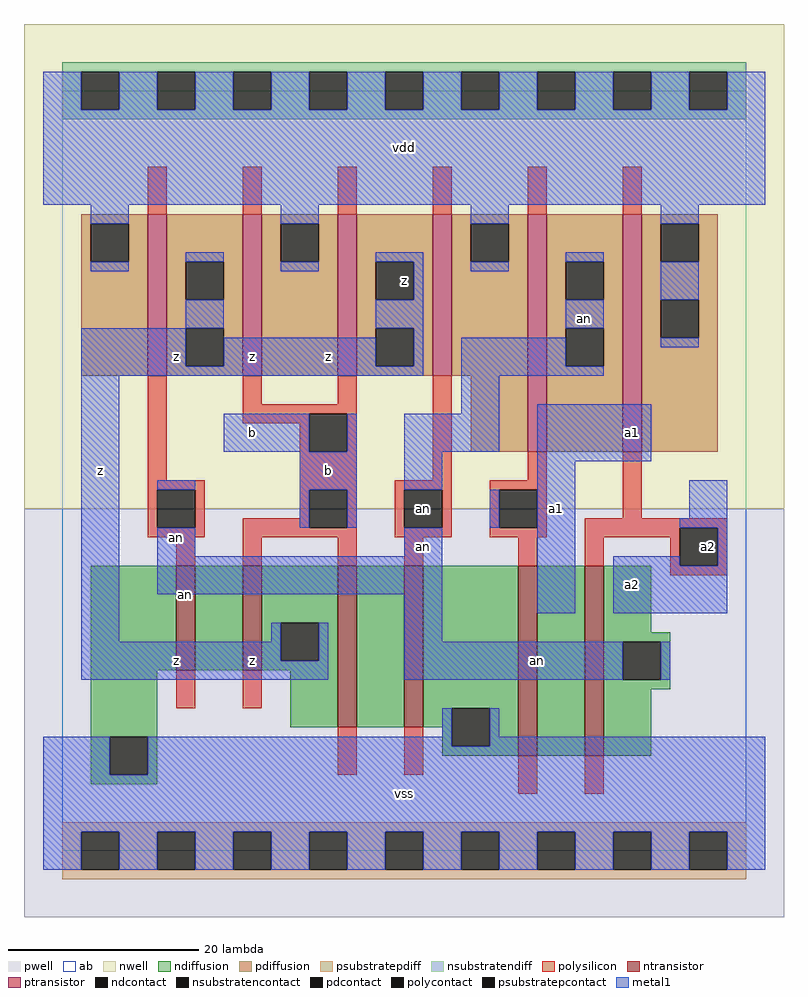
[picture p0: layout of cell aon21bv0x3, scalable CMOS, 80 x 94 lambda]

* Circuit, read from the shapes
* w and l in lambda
.subckt aon21bv0x3 a1 a2 an b vdd vss z
M1 n1 an vss vss nfet w=11 l=2
M2 z b n1 vss nfet w=11 l=2
M3 n2 b z vss nfet w=17 l=2
M4 vss an n2 vss nfet w=17 l=2
M5 n3 a1 vss vss nfet w=20 l=2
M6 an a2 n3 vss nfet w=20 l=2
M7 z an vdd vdd pfet w=17 l=2 m=2
M8 vdd b z vdd pfet w=17 l=2 m=2
M9 an a1 vdd vdd pfet w=25 l=2
M10 vdd a2 an vdd pfet w=25 l=2
.ends

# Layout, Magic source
magic
tech scmos
<< ab >>
rect 0 0 72 80
<< pwell >>
rect -4 -7 76 36
<< nwell >>
rect -4 36 76 87
<< polysilicon >>
rect 9 67 11 72
rect 19 67 21 72
rect 29 67 31 72
rect 39 67 41 72
rect 49 67 51 72
rect 59 67 61 72
rect 9 39 11 50
rect 19 47 21 50
rect 29 47 31 50
rect 19 46 31 47
rect 19 45 26 46
rect 25 42 26 45
rect 30 42 31 46
rect 9 38 15 39
rect 9 34 10 38
rect 14 34 15 38
rect 25 38 31 42
rect 39 39 41 50
rect 49 39 51 42
rect 25 35 26 38
rect 9 33 15 34
rect 19 34 26 35
rect 30 34 31 38
rect 19 33 31 34
rect 35 38 41 39
rect 35 34 36 38
rect 40 34 41 38
rect 35 33 41 34
rect 45 38 51 39
rect 45 34 46 38
rect 50 34 51 38
rect 59 35 61 42
rect 45 33 51 34
rect 55 34 70 35
rect 55 33 65 34
rect 12 30 14 33
rect 19 30 21 33
rect 29 30 31 33
rect 36 30 38 33
rect 48 30 50 33
rect 55 30 57 33
rect 64 30 65 33
rect 69 30 70 34
rect 12 15 14 19
rect 19 15 21 19
rect 29 8 31 13
rect 36 8 38 13
rect 64 29 70 30
rect 48 6 50 10
rect 55 6 57 10
<< ndiffusion >>
rect 3 19 12 30
rect 14 19 19 30
rect 21 24 29 30
rect 21 20 23 24
rect 27 20 29 24
rect 21 19 29 20
rect 3 12 10 19
rect 24 13 29 19
rect 31 13 36 30
rect 38 15 48 30
rect 38 13 41 15
rect 3 8 5 12
rect 9 8 10 12
rect 40 11 41 13
rect 45 11 48 15
rect 40 10 48 11
rect 50 10 55 30
rect 57 23 62 30
rect 57 22 64 23
rect 57 18 59 22
rect 63 18 64 22
rect 57 17 64 18
rect 57 10 62 17
rect 3 7 10 8
<< pdiffusion >>
rect 2 66 9 67
rect 2 62 3 66
rect 7 62 9 66
rect 2 50 9 62
rect 11 62 19 67
rect 11 58 13 62
rect 17 58 19 62
rect 11 55 19 58
rect 11 51 13 55
rect 17 51 19 55
rect 11 50 19 51
rect 21 66 29 67
rect 21 62 23 66
rect 27 62 29 66
rect 21 50 29 62
rect 31 62 39 67
rect 31 58 33 62
rect 37 58 39 62
rect 31 55 39 58
rect 31 51 33 55
rect 37 51 39 55
rect 31 50 39 51
rect 41 66 49 67
rect 41 62 43 66
rect 47 62 49 66
rect 41 50 49 62
rect 43 42 49 50
rect 51 62 59 67
rect 51 58 53 62
rect 57 58 59 62
rect 51 55 59 58
rect 51 51 53 55
rect 57 51 59 55
rect 51 42 59 51
rect 61 66 69 67
rect 61 62 63 66
rect 67 62 69 66
rect 61 58 69 62
rect 61 54 63 58
rect 67 54 69 58
rect 61 42 69 54
<< metal1 >>
rect -2 78 2 82
rect 6 78 10 82
rect 14 78 18 82
rect 22 78 26 82
rect 30 78 34 82
rect 38 78 42 82
rect 46 78 50 82
rect 54 78 58 82
rect 62 78 66 82
rect 70 78 74 82
rect -2 68 74 78
rect 3 66 7 68
rect 23 66 27 68
rect 3 61 7 62
rect 13 62 17 63
rect 43 66 47 68
rect 23 61 27 62
rect 33 62 38 63
rect 13 55 17 58
rect 2 51 13 55
rect 37 58 38 62
rect 63 66 67 68
rect 43 61 47 62
rect 53 62 57 63
rect 33 55 38 58
rect 17 51 33 54
rect 37 51 38 55
rect 53 55 57 58
rect 2 50 38 51
rect 42 51 53 54
rect 63 58 67 62
rect 63 53 67 54
rect 42 50 57 51
rect 2 22 6 50
rect 42 46 46 50
rect 17 42 26 46
rect 30 42 31 46
rect 10 38 14 39
rect 25 38 31 42
rect 25 34 26 38
rect 30 34 31 38
rect 36 42 46 46
rect 36 38 40 42
rect 50 41 62 47
rect 45 34 46 38
rect 10 31 14 34
rect 36 31 40 34
rect 10 27 40 31
rect 22 22 23 24
rect 2 20 23 22
rect 27 20 28 24
rect 2 18 28 20
rect 36 22 40 27
rect 50 25 54 41
rect 66 35 70 39
rect 65 34 70 35
rect 58 30 65 31
rect 69 30 70 34
rect 58 25 70 30
rect 36 18 59 22
rect 63 18 64 22
rect 40 12 41 15
rect -2 8 5 12
rect 9 11 41 12
rect 45 12 46 15
rect 45 11 74 12
rect 9 8 74 11
rect -2 2 74 8
rect -2 -2 2 2
rect 6 -2 10 2
rect 14 -2 18 2
rect 22 -2 26 2
rect 30 -2 34 2
rect 38 -2 42 2
rect 46 -2 50 2
rect 54 -2 58 2
rect 62 -2 66 2
rect 70 -2 74 2
<< ntransistor >>
rect 12 19 14 30
rect 19 19 21 30
rect 29 13 31 30
rect 36 13 38 30
rect 48 10 50 30
rect 55 10 57 30
<< ptransistor >>
rect 9 50 11 67
rect 19 50 21 67
rect 29 50 31 67
rect 39 50 41 67
rect 49 42 51 67
rect 59 42 61 67
<< polycontact >>
rect 26 42 30 46
rect 10 34 14 38
rect 26 34 30 38
rect 36 34 40 38
rect 46 34 50 38
rect 65 30 69 34
<< ndcontact >>
rect 23 20 27 24
rect 5 8 9 12
rect 41 11 45 15
rect 59 18 63 22
<< pdcontact >>
rect 3 62 7 66
rect 13 58 17 62
rect 13 51 17 55
rect 23 62 27 66
rect 33 58 37 62
rect 33 51 37 55
rect 43 62 47 66
rect 53 58 57 62
rect 53 51 57 55
rect 63 62 67 66
rect 63 54 67 58
<< psubstratepcontact >>
rect 2 -2 6 2
rect 10 -2 14 2
rect 18 -2 22 2
rect 26 -2 30 2
rect 34 -2 38 2
rect 42 -2 46 2
rect 50 -2 54 2
rect 58 -2 62 2
rect 66 -2 70 2
<< nsubstratencontact >>
rect 2 78 6 82
rect 10 78 14 82
rect 18 78 22 82
rect 26 78 30 82
rect 34 78 38 82
rect 42 78 46 82
rect 50 78 54 82
rect 58 78 62 82
rect 66 78 70 82
<< psubstratepdiff >>
rect 0 2 72 3
rect 0 -2 2 2
rect 6 -2 10 2
rect 14 -2 18 2
rect 22 -2 26 2
rect 30 -2 34 2
rect 38 -2 42 2
rect 46 -2 50 2
rect 54 -2 58 2
rect 62 -2 66 2
rect 70 -2 72 2
rect 0 -3 72 -2
<< nsubstratendiff >>
rect 0 82 72 83
rect 0 78 2 82
rect 6 78 10 82
rect 14 78 18 82
rect 22 78 26 82
rect 30 78 34 82
rect 38 78 42 82
rect 46 78 50 82
rect 54 78 58 82
rect 62 78 66 82
rect 70 78 72 82
rect 0 77 72 78
<< labels >>
rlabel ntransistor 13 27 13 27 6 an
rlabel polycontact 38 36 38 36 6 an
rlabel metal1 4 40 4 40 6 z
rlabel metal1 12 20 12 20 6 z
rlabel metal1 20 20 20 20 6 z
rlabel metal1 12 33 12 33 6 an
rlabel metal1 20 44 20 44 6 b
rlabel metal1 20 52 20 52 6 z
rlabel metal1 12 52 12 52 6 z
rlabel metal1 36 6 36 6 6 vss
rlabel metal1 38 32 38 32 6 an
rlabel metal1 28 40 28 40 6 b
rlabel metal1 28 52 28 52 6 z
rlabel pdcontact 36 60 36 60 6 z
rlabel metal1 36 74 36 74 6 vdd
rlabel metal1 52 36 52 36 6 a1
rlabel metal1 55 56 55 56 6 an
rlabel metal1 60 28 60 28 6 a2
rlabel metal1 50 20 50 20 6 an
rlabel polycontact 68 32 68 32 6 a2
rlabel metal1 60 44 60 44 6 a1
<< end >>
